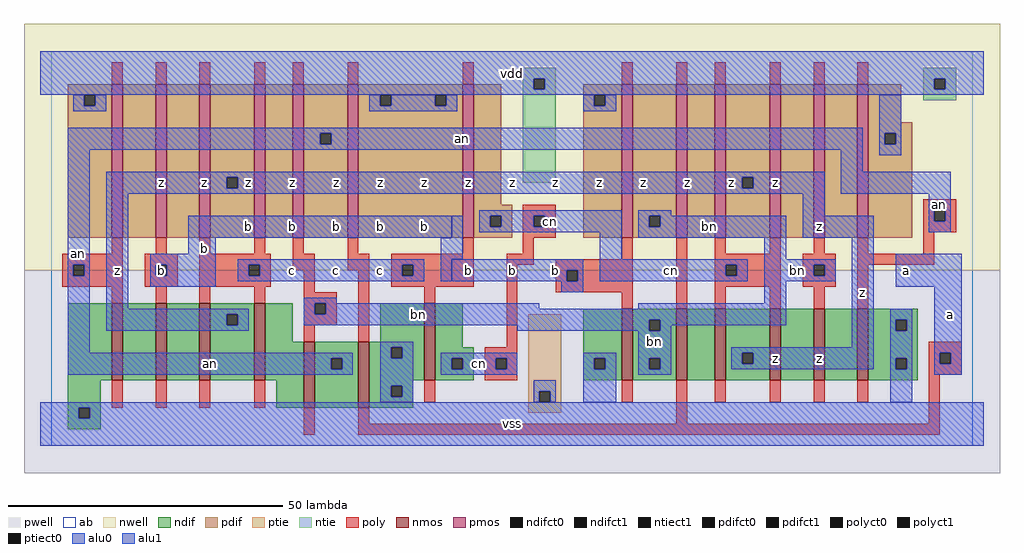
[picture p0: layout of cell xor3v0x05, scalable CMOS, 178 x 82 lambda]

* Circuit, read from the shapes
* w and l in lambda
.subckt xor3v0x05 a an b bn c cn vdd vss z
M1 n1 an vss vss nfet w=14 l=2
M2 n2 b n1 vss nfet w=14 l=2
M3 z c n2 vss nfet w=14 l=2
M4 n3 c z vss nfet w=14 l=2
M5 an bn n3 vss nfet w=12 l=2
M6 vss a an vss nfet w=12 l=2
M7 cn c vss vss nfet w=14 l=2
M8 bn b vss vss nfet w=13 l=2
M9 n4 a bn vss nfet w=13 l=2
M10 z cn n4 vss nfet w=13 l=2
M11 n5 cn z vss nfet w=13 l=2
M12 n6 bn n5 vss nfet w=13 l=2
M13 vss an n6 vss nfet w=13 l=2
M14 n7 an vdd vdd pfet w=28 l=2
M15 n8 b n7 vdd pfet w=28 l=2
M16 z c n8 vdd pfet w=28 l=2
M17 n9 c z vdd pfet w=28 l=2
M18 an bn n9 vdd pfet w=28 l=2
M19 vdd a an vdd pfet w=28 l=2
M20 cn c vdd vdd pfet w=28 l=2
M21 bn b vdd vdd pfet w=28 l=2
M22 n10 a bn vdd pfet w=28 l=2
M23 z cn n10 vdd pfet w=28 l=2
M24 n11 cn z vdd pfet w=28 l=2
M25 n12 bn n11 vdd pfet w=28 l=2
M26 vdd an n12 vdd pfet w=28 l=2
.ends

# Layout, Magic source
magic
tech scmos
<< ab >>
rect 0 0 168 72
<< nwell >>
rect -5 32 173 77
<< pwell >>
rect -5 -5 173 32
<< poly >>
rect 11 66 13 70
rect 19 66 21 70
rect 27 66 29 70
rect 37 66 39 70
rect 44 66 46 70
rect 54 66 56 70
rect 75 66 77 70
rect 104 66 106 70
rect 114 66 116 70
rect 121 66 123 70
rect 131 66 133 70
rect 139 66 141 70
rect 147 66 149 70
rect 86 42 92 44
rect 86 40 88 42
rect 90 40 92 42
rect 86 38 92 40
rect 159 43 165 45
rect 159 41 161 43
rect 163 41 165 43
rect 159 39 165 41
rect 11 35 13 38
rect 19 35 21 38
rect 27 35 29 38
rect 37 35 39 38
rect 44 35 46 38
rect 54 35 56 38
rect 75 35 77 38
rect 86 35 88 38
rect 2 33 13 35
rect 2 31 4 33
rect 6 31 13 33
rect 2 29 13 31
rect 17 33 23 35
rect 17 31 19 33
rect 21 31 23 33
rect 17 29 23 31
rect 27 33 40 35
rect 27 31 36 33
rect 38 31 40 33
rect 44 32 48 35
rect 54 32 58 35
rect 27 29 40 31
rect 11 26 13 29
rect 19 26 21 29
rect 27 26 29 29
rect 37 26 39 29
rect 46 28 48 32
rect 46 26 52 28
rect 46 24 48 26
rect 50 24 52 26
rect 46 22 52 24
rect 46 19 48 22
rect 56 19 58 32
rect 62 33 77 35
rect 62 31 64 33
rect 66 31 77 33
rect 62 29 77 31
rect 83 33 88 35
rect 104 34 106 38
rect 68 26 70 29
rect 11 7 13 12
rect 19 7 21 12
rect 27 7 29 12
rect 37 7 39 12
rect 83 18 85 33
rect 92 32 106 34
rect 92 30 94 32
rect 96 30 106 32
rect 92 28 106 30
rect 104 25 106 28
rect 114 25 116 38
rect 121 35 123 38
rect 131 35 133 38
rect 139 35 141 38
rect 147 35 149 38
rect 159 35 161 39
rect 121 33 133 35
rect 121 31 123 33
rect 125 31 133 33
rect 121 29 133 31
rect 137 33 143 35
rect 137 31 139 33
rect 141 31 143 33
rect 137 29 143 31
rect 147 33 161 35
rect 121 25 123 29
rect 131 25 133 29
rect 139 25 141 29
rect 147 25 149 33
rect 79 16 85 18
rect 79 14 81 16
rect 83 14 85 16
rect 79 12 85 14
rect 68 8 70 12
rect 160 17 166 19
rect 160 15 162 17
rect 164 15 166 17
rect 160 13 166 15
rect 104 8 106 12
rect 46 2 48 7
rect 56 4 58 7
rect 114 4 116 12
rect 121 8 123 12
rect 131 8 133 12
rect 139 8 141 12
rect 147 8 149 12
rect 160 4 162 13
rect 56 2 162 4
<< ndif >>
rect 3 12 11 26
rect 13 12 19 26
rect 21 12 27 26
rect 29 24 37 26
rect 29 22 32 24
rect 34 22 37 24
rect 29 12 37 22
rect 39 19 44 26
rect 60 19 68 26
rect 39 12 46 19
rect 3 7 9 12
rect 41 7 46 12
rect 48 16 56 19
rect 48 14 51 16
rect 53 14 56 16
rect 48 7 56 14
rect 58 18 68 19
rect 58 16 62 18
rect 64 16 68 18
rect 58 12 68 16
rect 70 18 75 26
rect 70 16 77 18
rect 70 14 73 16
rect 75 14 77 16
rect 70 12 77 14
rect 58 11 66 12
rect 58 9 62 11
rect 64 9 66 11
rect 58 7 66 9
rect 97 16 104 25
rect 97 14 99 16
rect 101 14 104 16
rect 97 12 104 14
rect 106 23 114 25
rect 106 21 109 23
rect 111 21 114 23
rect 106 16 114 21
rect 106 14 109 16
rect 111 14 114 16
rect 106 12 114 14
rect 116 12 121 25
rect 123 17 131 25
rect 123 15 126 17
rect 128 15 131 17
rect 123 12 131 15
rect 133 12 139 25
rect 141 12 147 25
rect 149 23 158 25
rect 149 21 154 23
rect 156 21 158 23
rect 149 16 158 21
rect 149 14 154 16
rect 156 14 158 16
rect 149 12 158 14
rect 3 5 5 7
rect 7 5 9 7
rect 3 3 9 5
<< pdif >>
rect 3 64 11 66
rect 3 62 6 64
rect 8 62 11 64
rect 3 38 11 62
rect 13 38 19 66
rect 21 38 27 66
rect 29 49 37 66
rect 29 47 32 49
rect 34 47 37 49
rect 29 38 37 47
rect 39 38 44 66
rect 46 57 54 66
rect 46 55 49 57
rect 51 55 54 57
rect 46 38 54 55
rect 56 64 75 66
rect 56 62 60 64
rect 62 62 70 64
rect 72 62 75 64
rect 56 38 75 62
rect 77 44 82 66
rect 97 64 104 66
rect 97 62 99 64
rect 101 62 104 64
rect 77 42 84 44
rect 77 40 80 42
rect 82 40 84 42
rect 77 38 84 40
rect 97 38 104 62
rect 106 42 114 66
rect 106 40 109 42
rect 111 40 114 42
rect 106 38 114 40
rect 116 38 121 66
rect 123 49 131 66
rect 123 47 126 49
rect 128 47 131 49
rect 123 38 131 47
rect 133 38 139 66
rect 141 38 147 66
rect 149 59 155 66
rect 149 57 157 59
rect 149 55 152 57
rect 154 55 157 57
rect 149 38 157 55
<< alu1 >>
rect -2 67 170 72
rect -2 65 88 67
rect 90 65 161 67
rect 163 65 170 67
rect -2 64 170 65
rect 10 49 141 50
rect 10 47 32 49
rect 34 47 126 49
rect 128 47 141 49
rect 10 46 141 47
rect 10 25 14 46
rect 25 38 73 42
rect 25 35 30 38
rect 18 33 30 35
rect 137 42 141 46
rect 137 38 150 42
rect 18 31 19 33
rect 21 31 30 33
rect 18 29 30 31
rect 34 33 68 34
rect 34 31 36 33
rect 38 31 64 33
rect 66 31 68 33
rect 34 30 68 31
rect 73 32 97 34
rect 73 30 94 32
rect 96 30 97 32
rect 93 28 97 30
rect 10 24 36 25
rect 10 22 32 24
rect 34 22 36 24
rect 10 21 36 22
rect 146 18 150 38
rect 154 29 166 35
rect 124 17 150 18
rect 124 15 126 17
rect 128 15 150 17
rect 124 14 150 15
rect 161 17 166 29
rect 161 15 162 17
rect 164 15 166 17
rect 161 13 166 15
rect -2 7 170 8
rect -2 5 5 7
rect 7 5 170 7
rect -2 0 170 5
<< ptie >>
rect 87 10 93 24
rect 87 8 89 10
rect 91 8 93 10
rect 87 6 93 8
<< ntie >>
rect 86 67 92 69
rect 86 65 88 67
rect 90 65 92 67
rect 159 67 165 69
rect 86 48 92 65
rect 159 65 161 67
rect 163 65 165 67
rect 159 63 165 65
<< nmos >>
rect 11 12 13 26
rect 19 12 21 26
rect 27 12 29 26
rect 37 12 39 26
rect 46 7 48 19
rect 56 7 58 19
rect 68 12 70 26
rect 104 12 106 25
rect 114 12 116 25
rect 121 12 123 25
rect 131 12 133 25
rect 139 12 141 25
rect 147 12 149 25
<< pmos >>
rect 11 38 13 66
rect 19 38 21 66
rect 27 38 29 66
rect 37 38 39 66
rect 44 38 46 66
rect 54 38 56 66
rect 75 38 77 66
rect 104 38 106 66
rect 114 38 116 66
rect 121 38 123 66
rect 131 38 133 66
rect 139 38 141 66
rect 147 38 149 66
<< polyct0 >>
rect 88 40 90 42
rect 161 41 163 43
rect 4 31 6 33
rect 48 24 50 26
rect 123 31 125 33
rect 139 31 141 33
rect 81 14 83 16
<< polyct1 >>
rect 19 31 21 33
rect 36 31 38 33
rect 64 31 66 33
rect 94 30 96 32
rect 162 15 164 17
<< ndifct0 >>
rect 51 14 53 16
rect 62 16 64 18
rect 73 14 75 16
rect 62 9 64 11
rect 99 14 101 16
rect 109 21 111 23
rect 109 14 111 16
rect 154 21 156 23
rect 154 14 156 16
<< ndifct1 >>
rect 32 22 34 24
rect 126 15 128 17
rect 5 5 7 7
<< ntiect1 >>
rect 88 65 90 67
rect 161 65 163 67
<< ptiect0 >>
rect 89 8 91 10
<< pdifct0 >>
rect 6 62 8 64
rect 49 55 51 57
rect 60 62 62 64
rect 70 62 72 64
rect 99 62 101 64
rect 80 40 82 42
rect 109 40 111 42
rect 152 55 154 57
<< pdifct1 >>
rect 32 47 34 49
rect 126 47 128 49
<< alu0 >>
rect 4 62 6 64
rect 8 62 10 64
rect 4 61 10 62
rect 58 62 60 64
rect 62 62 70 64
rect 72 62 74 64
rect 58 61 74 62
rect 97 62 99 64
rect 101 62 103 64
rect 97 61 103 62
rect 3 57 148 58
rect 3 55 49 57
rect 51 55 148 57
rect 3 54 148 55
rect 3 33 7 54
rect 144 50 148 54
rect 151 57 155 64
rect 151 55 152 57
rect 154 55 155 57
rect 151 53 155 55
rect 3 31 4 33
rect 6 31 7 33
rect 3 17 7 31
rect 144 46 164 50
rect 78 42 104 43
rect 73 38 75 42
rect 78 40 80 42
rect 82 40 88 42
rect 90 40 104 42
rect 78 39 104 40
rect 71 34 75 38
rect 100 34 104 39
rect 107 42 113 43
rect 160 43 164 46
rect 107 40 109 42
rect 111 40 134 42
rect 107 38 134 40
rect 160 41 161 43
rect 163 41 164 43
rect 160 39 164 41
rect 130 34 134 38
rect 71 30 73 34
rect 100 33 127 34
rect 100 31 123 33
rect 125 31 127 33
rect 100 30 127 31
rect 130 33 143 34
rect 130 31 139 33
rect 141 31 143 33
rect 130 30 143 31
rect 46 26 52 27
rect 130 26 134 30
rect 46 24 48 26
rect 50 25 89 26
rect 107 25 134 26
rect 50 24 134 25
rect 46 23 134 24
rect 46 22 109 23
rect 85 21 109 22
rect 111 22 134 23
rect 111 21 113 22
rect 60 18 66 19
rect 3 16 55 17
rect 3 14 51 16
rect 53 14 55 16
rect 3 13 55 14
rect 60 16 62 18
rect 64 16 66 18
rect 60 11 66 16
rect 71 16 85 17
rect 71 14 73 16
rect 75 14 81 16
rect 83 14 85 16
rect 71 13 85 14
rect 97 16 103 17
rect 97 14 99 16
rect 101 14 103 16
rect 60 9 62 11
rect 64 9 66 11
rect 60 8 66 9
rect 88 10 92 12
rect 88 8 89 10
rect 91 8 92 10
rect 97 8 103 14
rect 107 16 113 21
rect 107 14 109 16
rect 111 14 113 16
rect 153 23 157 25
rect 153 21 154 23
rect 156 21 157 23
rect 153 16 157 21
rect 153 14 154 16
rect 156 14 157 16
rect 107 13 113 14
rect 153 8 157 14
<< labels >>
rlabel alu0 5 35 5 35 6 an
rlabel alu0 29 15 29 15 6 an
rlabel alu0 78 15 78 15 6 cn
rlabel alu0 110 19 110 19 6 bn
rlabel alu0 67 24 67 24 6 bn
rlabel alu0 91 41 91 41 6 cn
rlabel alu0 113 32 113 32 6 cn
rlabel alu0 136 32 136 32 6 bn
rlabel alu0 120 40 120 40 6 bn
rlabel alu0 162 44 162 44 6 an
rlabel alu0 75 56 75 56 6 an
rlabel alu1 12 32 12 32 6 z
rlabel polyct1 20 32 20 32 6 b
rlabel alu1 28 36 28 36 6 b
rlabel alu1 20 48 20 48 6 z
rlabel alu1 28 48 28 48 6 z
rlabel alu1 44 32 44 32 6 c
rlabel alu1 52 32 52 32 6 c
rlabel alu1 60 32 60 32 6 c
rlabel alu1 36 40 36 40 6 b
rlabel alu1 44 40 44 40 6 b
rlabel alu1 52 40 52 40 6 b
rlabel alu1 60 40 60 40 6 b
rlabel alu1 36 48 36 48 6 z
rlabel alu1 44 48 44 48 6 z
rlabel alu1 52 48 52 48 6 z
rlabel alu1 60 48 60 48 6 z
rlabel alu1 84 4 84 4 6 vss
rlabel alu1 76 32 76 32 6 b
rlabel alu1 84 32 84 32 6 b
rlabel alu1 92 32 92 32 6 b
rlabel alu1 68 40 68 40 6 b
rlabel alu1 68 48 68 48 6 z
rlabel alu1 76 48 76 48 6 z
rlabel alu1 84 48 84 48 6 z
rlabel alu1 92 48 92 48 6 z
rlabel alu1 84 68 84 68 6 vdd
rlabel alu1 132 16 132 16 6 z
rlabel alu1 100 48 100 48 6 z
rlabel alu1 108 48 108 48 6 z
rlabel alu1 116 48 116 48 6 z
rlabel alu1 124 48 124 48 6 z
rlabel alu1 132 48 132 48 6 z
rlabel alu1 140 16 140 16 6 z
rlabel alu1 164 24 164 24 6 a
rlabel alu1 148 28 148 28 6 z
rlabel alu1 156 32 156 32 6 a
rlabel alu1 140 40 140 40 6 z
<< end >>
